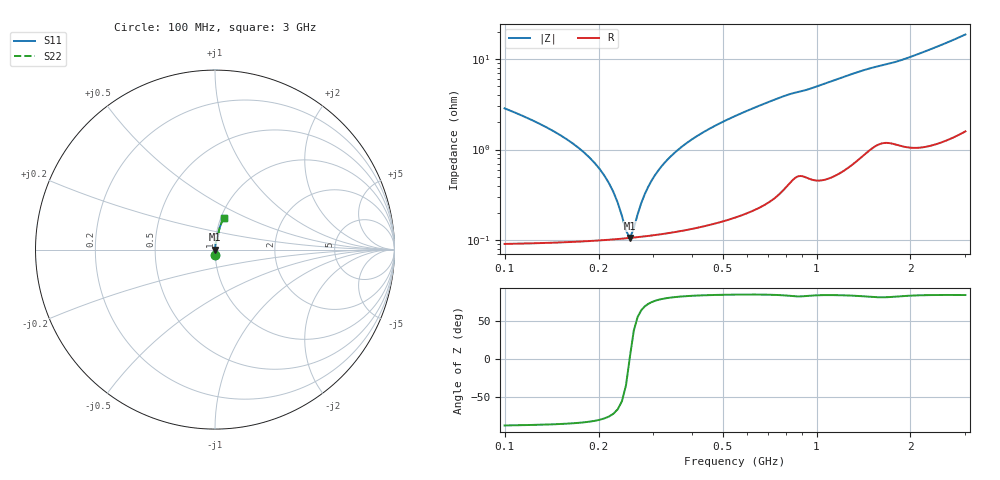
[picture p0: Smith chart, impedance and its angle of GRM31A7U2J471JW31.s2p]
!Murata Part Number: GRM31A7U2J471JW31
!These Parameters are Measured in Series Mode Connection
!Data Generated on Mar 30, 2021
!  o--ll--o
!Port1  Port2
!  o------o
!Operation Temp=25[degC], DC Bias Voltage=0[V]
!Freq. Start=100[MHz] Stop=3[GHz] 401[Steps]
# Hz S RI R 50
!Freq.(Hz) S11(Real) S11(Imag) S21(Real) S21(Imag) S12(Real) S12(Imag) S22(Real) S22(Imag)
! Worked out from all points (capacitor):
!   401 points, 100 MHz to 3 GHz, reference 50 ohm
!   read as one part in series: C = 470 pF near 114.5 MHz
!   lowest |Z| = 106 mohm at 252.2 MHz (marker M1)
!   series resonance near 251.7 MHz, so ESL is about 850 pH
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1e8  0.00171 -0.0284  0.9983 0.0284  0.9983 0.0284  0.00171 -0.0284
1.435e8  0.00119 -0.0159  0.9988 0.0159  0.9988 0.0159  0.00119 -0.0159
1.87e8  0.00104 -0.0081  0.999 0.0081  0.999 0.0081  0.00104 -0.0081
2.015e8  0.00102 -0.00603  0.999 0.00603  0.999 0.00603  0.00102 -0.00603
2.16e8  0.00102 -0.00412  0.999 0.00412  0.999 0.00412  0.00102 -0.00412
2.3775e8  0.00104 -0.00153  0.999 0.00153  0.999 0.00153  0.00104 -0.00153
2.45e8  0.00104 -0.00072  0.999 0.00072  0.999 0.00072  0.00104 -0.00072
2.5225e8  0.00105 6.46e-05  0.9989 -6.46e-05  0.9989 -6.46e-05  0.00105 6.46e-05
2.595e8  0.00106 0.000827  0.9989 -0.000827  0.9989 -0.000827  0.00106 0.000827
2.885e8  0.00112 0.00369  0.9989 -0.00369  0.9989 -0.00369  0.00112 0.00369
3.03e8  0.00116 0.00503  0.9988 -0.00503  0.9988 -0.00503  0.00116 0.00503
3.2475e8  0.00122 0.00695  0.9988 -0.00695  0.9988 -0.00695  0.00122 0.00695
3.5375e8  0.00131 0.00936  0.9987 -0.00936  0.9987 -0.00936  0.00131 0.00936
3.9725e8  0.00148 0.0128  0.9985 -0.0128  0.9985 -0.0128  0.00148 0.0128
4.48e8  0.00172 0.0165  0.9983 -0.0165  0.9983 -0.0165  0.00172 0.0165
5.8575e8  0.00258 0.0258  0.9974 -0.0258  0.9974 -0.0258  0.00258 0.0258
7.96e8  0.0053 0.039  0.9947 -0.039  0.9947 -0.039  0.0053 0.039
1.0715e9  0.00752 0.0534  0.9925 -0.0534  0.9925 -0.0534  0.00752 0.0534
1.55e9  0.0172 0.0792  0.9828 -0.0792  0.9828 -0.0792  0.0172 0.0792
2.03575e9  0.0214 0.1042  0.9786 -0.1042  0.9786 -0.1042  0.0214 0.1042
2.5215e9  0.0314 0.1375  0.9686 -0.1375  0.9686 -0.1375  0.0314 0.1375
3e9  0.0477 0.1748  0.9523 -0.1748  0.9523 -0.1748  0.0477 0.1748
